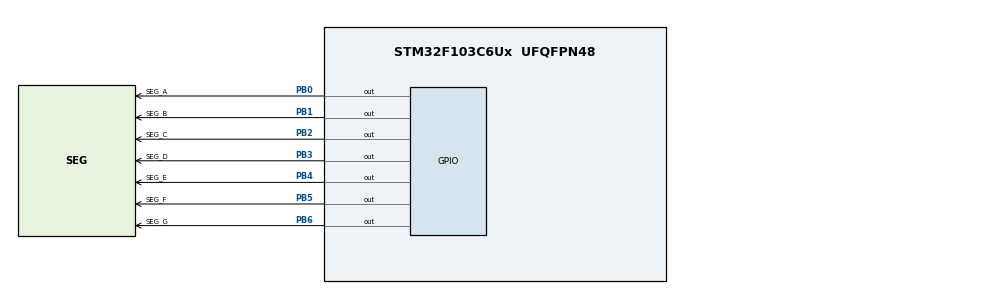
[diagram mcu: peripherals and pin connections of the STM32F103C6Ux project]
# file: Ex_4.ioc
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Mcu.Family=STM32F1
Mcu.Name=STM32F103C6Ux
Mcu.Package=UFQFPN48
NVIC.PriorityGroup=NVIC_PRIORITYGROUP_4
PB0.GPIO_Label=SEG_A
PB0.Signal=GPIO_Output
PB1.GPIO_Label=SEG_B
PB1.Signal=GPIO_Output
PB2.GPIO_Label=SEG_C
PB2.Signal=GPIO_Output
PB3.GPIO_Label=SEG_D
PB3.Signal=GPIO_Output
PB4.GPIO_Label=SEG_E
PB4.Signal=GPIO_Output
PB5.GPIO_Label=SEG_F
PB5.Signal=GPIO_Output
PB6.GPIO_Label=SEG_G
PB6.Signal=GPIO_Output
ProjectManager.HeapSize=0x200
ProjectManager.StackSize=0x400
ProjectManager.TargetToolchain=STM32CubeIDE
RCC.APB1Freq_Value=8000000
RCC.APB2Freq_Value=8000000
VP_SYS_VS_ND.Mode=No_Debug
board=custom

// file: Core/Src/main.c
/* USER CODE BEGIN Header */
/**
  ******************************************************************************
  * @file           : main.c
  * @brief          : Main program body
  ******************************************************************************
  * @attention
  *
  * <h2><center>&copy; Copyright (c) 2023 STMicroelectronics.
  * All rights reserved.</center></h2>
  *
  * This software component is licensed by ST under BSD 3-Clause license,
  * the "License"; You may not use this file except in compliance with the
  * License. You may obtain a copy of the License at:
  *                        opensource.org/licenses/BSD-3-Clause
  *
  ******************************************************************************
  */
/* USER CODE END Header */
#include "main.h"

/* USER CODE BEGIN PV */
GPIO_PinState seven_segment[10][7] = {
  {GPIO_PIN_RESET, GPIO_PIN_RESET, GPIO_PIN_RESET, GPIO_PIN_RESET, GPIO_PIN_RESET, GPIO_PIN_RESET, GPIO_PIN_SET  },
  {GPIO_PIN_SET  , GPIO_PIN_RESET, GPIO_PIN_RESET, GPIO_PIN_SET  , GPIO_PIN_SET  , GPIO_PIN_SET  , GPIO_PIN_SET  },
  {GPIO_PIN_RESET, GPIO_PIN_RESET, GPIO_PIN_SET  , GPIO_PIN_RESET, GPIO_PIN_RESET, GPIO_PIN_SET  , GPIO_PIN_RESET},
  {GPIO_PIN_RESET, GPIO_PIN_RESET, GPIO_PIN_RESET, GPIO_PIN_RESET, GPIO_PIN_SET  , GPIO_PIN_SET  , GPIO_PIN_RESET},
  {GPIO_PIN_SET  , GPIO_PIN_RESET, GPIO_PIN_RESET, GPIO_PIN_SET  , GPIO_PIN_SET  , GPIO_PIN_RESET, GPIO_PIN_RESET},
  {GPIO_PIN_RESET, GPIO_PIN_SET  , GPIO_PIN_RESET, GPIO_PIN_RESET, GPIO_PIN_SET  , GPIO_PIN_RESET, GPIO_PIN_RESET},
  {GPIO_PIN_RESET, GPIO_PIN_SET  , GPIO_PIN_RESET, GPIO_PIN_RESET, GPIO_PIN_RESET, GPIO_PIN_RESET, GPIO_PIN_RESET},
  {GPIO_PIN_RESET, GPIO_PIN_RESET, GPIO_PIN_RESET, GPIO_PIN_SET  , GPIO_PIN_SET  , GPIO_PIN_SET  , GPIO_PIN_SET  },
  {GPIO_PIN_RESET, GPIO_PIN_RESET, GPIO_PIN_RESET, GPIO_PIN_RESET, GPIO_PIN_RESET, GPIO_PIN_RESET, GPIO_PIN_RESET},
  {GPIO_PIN_RESET, GPIO_PIN_RESET, GPIO_PIN_RESET, GPIO_PIN_RESET, GPIO_PIN_SET  , GPIO_PIN_RESET, GPIO_PIN_RESET},
};
/* USER CODE END PV */

void SystemClock_Config(void);
static void MX_GPIO_Init(void);

/* USER CODE BEGIN 0 */
void display7SEG(int number);
/* USER CODE END 0 */

int main(void)
{

  /* MCU Configuration--------------------------------------------------------*/

  /* Reset of all peripherals, Initializes the Flash interface and the Systick. */
  HAL_Init();

  /* Configure the system clock */
  SystemClock_Config();

  /* Initialize all configured peripherals */
  MX_GPIO_Init();
  /* USER CODE BEGIN 2 */
  int counter = 0;
  /* USER CODE END 2 */

  /* Infinite loop */
  /* USER CODE BEGIN WHILE */
  while (1)
  {
	if(counter >= 10)
	  counter = 0;
	display7SEG(counter++);
	HAL_Delay(1000);
    /* USER CODE END WHILE */

  }
}

void SystemClock_Config(void)
{
  RCC_OscInitTypeDef RCC_OscInitStruct = {0};
  RCC_ClkInitTypeDef RCC_ClkInitStruct = {0};

  /** Initializes the RCC Oscillators according to the specified parameters
  * in the RCC_OscInitTypeDef structure.
  */
  RCC_OscInitStruct.OscillatorType = RCC_OSCILLATORTYPE_HSI;
  RCC_OscInitStruct.HSIState = RCC_HSI_ON;
  RCC_OscInitStruct.HSICalibrationValue = RCC_HSICALIBRATION_DEFAULT;
  RCC_OscInitStruct.PLL.PLLState = RCC_PLL_NONE;
  if (HAL_RCC_OscConfig(&RCC_OscInitStruct) != HAL_OK)
  {
    Error_Handler();
  }
  /** Initializes the CPU, AHB and APB buses clocks
  */
  RCC_ClkInitStruct.ClockType = RCC_CLOCKTYPE_HCLK|RCC_CLOCKTYPE_SYSCLK
                              |RCC_CLOCKTYPE_PCLK1|RCC_CLOCKTYPE_PCLK2;
  RCC_ClkInitStruct.SYSCLKSource = RCC_SYSCLKSOURCE_HSI;
  RCC_ClkInitStruct.AHBCLKDivider = RCC_SYSCLK_DIV1;
  RCC_ClkInitStruct.APB1CLKDivider = RCC_HCLK_DIV1;
  RCC_ClkInitStruct.APB2CLKDivider = RCC_HCLK_DIV1;

  if (HAL_RCC_ClockConfig(&RCC_ClkInitStruct, FLASH_LATENCY_0) != HAL_OK)
  {
    Error_Handler();
  }
}

static void MX_GPIO_Init(void)
{
  GPIO_InitTypeDef GPIO_InitStruct = {0};

  /* GPIO Ports Clock Enable */
  __HAL_RCC_GPIOB_CLK_ENABLE();

  /*Configure GPIO pin Output Level */
  HAL_GPIO_WritePin(GPIOB, SEG_A_Pin|SEG_B_Pin|SEG_C_Pin|SEG_D_Pin
                          |SEG_E_Pin|SEG_F_Pin|SEG_G_Pin, GPIO_PIN_RESET);

  /*Configure GPIO pins : SEG_A_Pin SEG_B_Pin SEG_C_Pin SEG_D_Pin
                           SEG_E_Pin SEG_F_Pin SEG_G_Pin */
  GPIO_InitStruct.Pin = SEG_A_Pin|SEG_B_Pin|SEG_C_Pin|SEG_D_Pin
                          |SEG_E_Pin|SEG_F_Pin|SEG_G_Pin;
  GPIO_InitStruct.Mode = GPIO_MODE_OUTPUT_PP;
  GPIO_InitStruct.Pull = GPIO_NOPULL;
  GPIO_InitStruct.Speed = GPIO_SPEED_FREQ_LOW;
  HAL_GPIO_Init(GPIOB, &GPIO_InitStruct);

}

/* USER CODE BEGIN 4 */
void display7SEG(int number){
  if(number >= 0 && number <= 9){
	HAL_GPIO_WritePin(SEG_A_GPIO_Port, SEG_A_Pin, seven_segment[number][0]);
	HAL_GPIO_WritePin(SEG_B_GPIO_Port, SEG_B_Pin, seven_segment[number][1]);
	HAL_GPIO_WritePin(SEG_C_GPIO_Port, SEG_C_Pin, seven_segment[number][2]);
	HAL_GPIO_WritePin(SEG_D_GPIO_Port, SEG_D_Pin, seven_segment[number][3]);
	HAL_GPIO_WritePin(SEG_E_GPIO_Port, SEG_E_Pin, seven_segment[number][4]);
	HAL_GPIO_WritePin(SEG_F_GPIO_Port, SEG_F_Pin, seven_segment[number][5]);
	HAL_GPIO_WritePin(SEG_G_GPIO_Port, SEG_G_Pin, seven_segment[number][6]);
  }
}
/* USER CODE END 4 */

void Error_Handler(void)
{
  __disable_irq();
  while (1)
  {
  }
}

/************************ (C) COPYRIGHT STMicroelectronics *****END OF FILE****/
